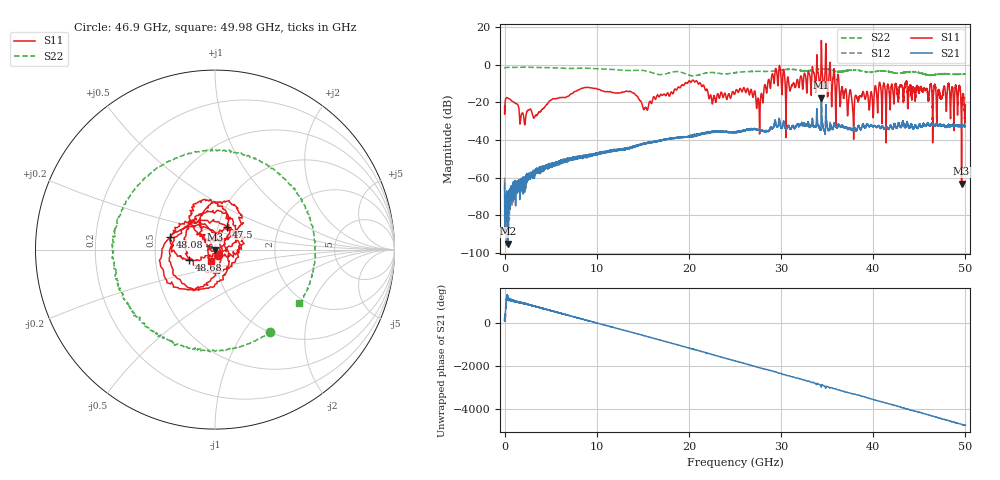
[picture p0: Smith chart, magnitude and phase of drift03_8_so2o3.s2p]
!Created with skrf (http://scikit-rf.org).
# Hz S RI R 50.0
!freq ReS11 ImS11 ReS21 ImS21 ReS12 ImS12 ReS22 ImS22
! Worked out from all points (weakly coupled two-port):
!   10001 points, 300 kHz to 50 GHz, reference 50 ohm
!   highest |S21| = -17.51 dB at 34.37 GHz (marker M1); lowest = -95.1 dB at 360.3 MHz (marker M2)
!   lowest |S11| = -63.2 dB at 49.59 GHz (marker M3), VSWR 1.00, Z = 50 - j0.0529 ohm
!   |S11| at or under -10 dB: start of sweep to 19.56 GHz; 21.26 GHz to 28.55 GHz (7.293 GHz wide, 29.3 % of centre); 36.28 GHz to 40.64 GHz (4.361 GHz wide, 11.3 % of centre) (the widest 3 of 34)
!   |S22| runs from -5.9 to -1.3 dB; largest |S21 - S12| = 0.025
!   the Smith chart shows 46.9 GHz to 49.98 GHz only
!   S11 on the Smith chart (normalised r, x): 46.9 GHz: 1.04, -0.06; 47.5 GHz: 1.10, +0.29; 48.08 GHz: 0.60, +0.09; 48.68 GHz: 0.74, -0.08; 49.98 GHz: 0.95, -0.12
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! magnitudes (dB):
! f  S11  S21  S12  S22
! 300 kHz  -22.0  -63.0  -60.0  -2.1
! 360.3 MHz  -17.8  -95.1  -69.7  -1.4
! 3.3 GHz  -27.3  -57.1  -58.0  -1.5
! 8.335 GHz  -12.6  -48.8  -49.0  -1.9
! 15.28 GHz  -22.8  -42.0  -41.7  -3.3
! 16.67 GHz  -16.6  -40.6  -40.6  -5.2
! 20.26 GHz  -9.2  -38.0  -37.7  -5.8
! 25 GHz  -15.3  -35.9  -35.9  -4.3
! 27.52 GHz  -17.8  -34.6  -34.7  -3.5
! 29.28 GHz  -8.8  -31.3  -30.8  -3.4
! 30.73 GHz  -6.6  -32.8  -32.5  -2.5
! 33.34 GHz  -7.2  -31.3  -31.4  -2.9
! 34.37 GHz  12.9  -17.5  -19.2  -2.3
! 37.86 GHz  -35.1  -33.8  -34.0  -2.9
! 41.67 GHz  -11.9  -34.5  -34.2  -3.7
! 46.9 GHz  -28.9  -32.1  -32.2  -5.1
! 47.5 GHz  -16.9  -32.2  -32.6  -5.0
! 48.08 GHz  -11.7  -32.4  -32.4  -4.9
! 48.68 GHz  -16.2  -32.3  -32.2  -5.1
! 49.59 GHz  -63.2  -33.2  -32.3  -5.1
! 49.98 GHz  -23.8  -33.0  -32.6  -5.1
! 50 GHz  -21.4  -32.5  -32.9  -5.0
